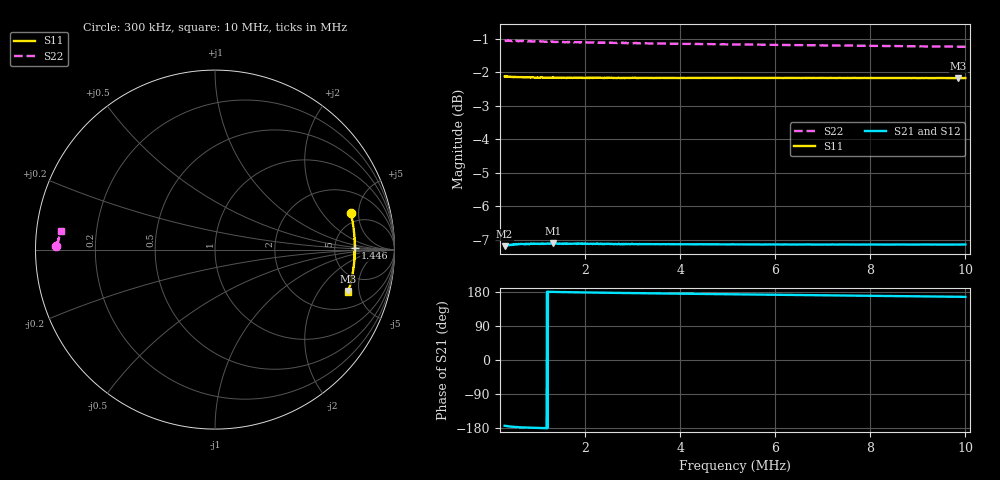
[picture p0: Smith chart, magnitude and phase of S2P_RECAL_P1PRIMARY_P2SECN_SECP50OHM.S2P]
!Keysight Technologies,E5061B,MY49709559,B.05.06
!Date: Fri Apr 08 00:58:14 2022
!Data & Calibration Information:
!Freq	S11:SOLT2(ON)	S21:SOLT2(ON)	S12:SOLT2(ON)	S22:SOLT2(ON)
# Hz S RI R 50
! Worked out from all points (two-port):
!   1000 points, 300 kHz to 10 MHz, reference 50 ohm
!   highest |S21| = -7.10 dB at 1.329 MHz (marker M1); lowest = -7.2 dB at 300 kHz (marker M2)
!   |S21| within 3 dB of the highest: start of sweep to end of sweep
!   lowest |S11| = -2.2 dB at 9.854 MHz (marker M3), VSWR 8.01, Z = 166 - j194 ohm
!   |S11| at or under -10 dB: nowhere
!   |S22| runs from -1.2 to -1.1 dB; largest |S21 - S12| = 0.002
!   S11 on the Smith chart (normalised r, x): 300 kHz: 3.83, +4.03; 1.446 MHz: 8.04, +0.34; 10 MHz: 3.26, -3.86
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300000  0.7558 0.2038  -0.4345 -0.0492  -0.4336 -0.0497  -0.8839 0.019
329129.1  0.7601 0.1843  -0.4358 -0.044  -0.4352 -0.044  -0.8834 0.0184
377677.7  0.7661 0.16  -0.4373 -0.038  -0.437 -0.0373  -0.8842 0.0174
406806.8  0.768 0.1471  -0.4376 -0.0348  -0.4382 -0.035  -0.8839 0.0163
465065.1  0.7707 0.1263  -0.4386 -0.0292  -0.4394 -0.029  -0.8836 0.017
513613.6  0.773 0.1116  -0.4393 -0.0254  -0.44 -0.0256  -0.884 0.0162
562162.2  0.7743 0.0992  -0.4396 -0.022  -0.4405 -0.0221  -0.8841 0.0162
649549.6  0.7763 0.0823  -0.4403 -0.0174  -0.4409 -0.0173  -0.8839 0.0171
775775.8  0.7773 0.0634  -0.4403 -0.0122  -0.4408 -0.0115  -0.8826 0.0169
950550.6  0.7786 0.0435  -0.4408 -0.00576  -0.4415 -0.00535  -0.883 0.0192
1173874  0.7789 0.0253  -0.4411 -0.000956  -0.4412 -0.000222  -0.8809 0.0211
1329229  0.7798 0.0153  -0.4416 0.00245  -0.4408 0.00297  -0.8804 0.0216
1445746  0.7792 0.00835  -0.441 0.00489  -0.441 0.00528  -0.881 0.0232
1921522  0.779 -0.0147  -0.4411 0.0127  -0.4403 0.0136  -0.8795 0.029
2212813  0.7785 -0.0254  -0.4403 0.0163  -0.4404 0.017  -0.8784 0.0308
2717718  0.777 -0.0432  -0.4396 0.0229  -0.4392 0.0237  -0.877 0.0367
3543043  0.7756 -0.0683  -0.4392 0.0328  -0.4384 0.0337  -0.8751 0.0444
5154855  0.7704 -0.1128  -0.4371 0.0509  -0.4361 0.0512  -0.8713 0.0599
6766667  0.7631 -0.1543  -0.4345 0.0681  -0.4336 0.0682  -0.8676 0.0754
8388188  0.7538 -0.1946  -0.4315 0.085  -0.4304 0.0847  -0.8639 0.0906
9854354  0.7432 -0.23  -0.4282 0.1001  -0.4275 0.0994  -0.8605 0.1043
1e7  0.7424 -0.2335  -0.4279 0.1016  -0.4269 0.1008  -0.8599 0.1057
